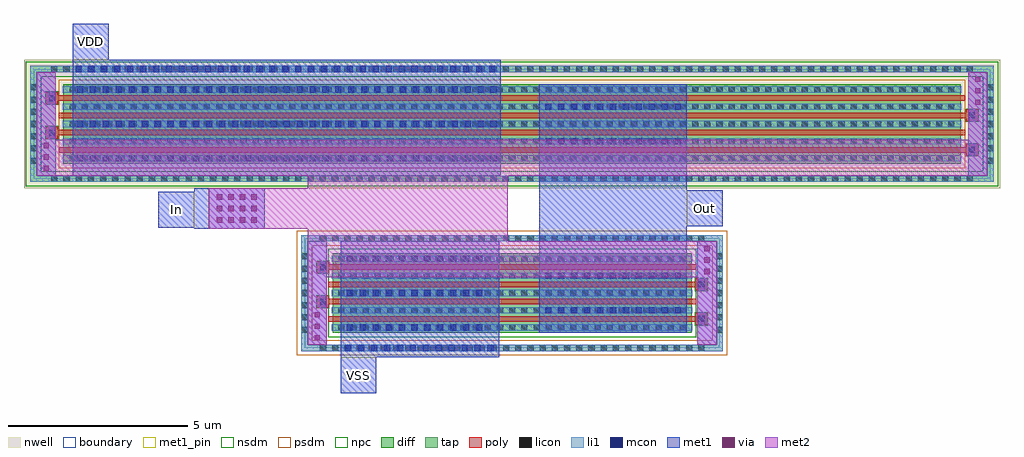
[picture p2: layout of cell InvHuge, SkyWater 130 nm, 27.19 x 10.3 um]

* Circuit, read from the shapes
.subckt InvHuge In Out VDD VSS
XM1 Out In VSS VSS sky130_fd_pr__nfet_01v8 w=10 l=0.15 m=4
XM2 Out In VDD VDD sky130_fd_pr__pfet_01v8 w=25 l=0.15 m=4
.ends

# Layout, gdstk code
from math import pi, radians
import gdstk
lib = gdstk.Library(unit=1e-6, precision=1e-09)
def R(c, l, rs):  # rectangles x0, y0, x1, y1
    for r in rs: c.add(gdstk.rectangle(r[:2], r[2:], *l))
def A(c, l, x, y, w, h, nx, ny, dx, dy):  # array of equal rectangles
    R(c, l, [(x+i*dx, y+j*dy, x+i*dx+w, y+j*dy+h) for i in range(nx) for j in range(ny)])
nwell = (64, 20)
diff = (65, 20)
tap = (65, 44)
poly = (66, 20)
licon = (66, 44)
li1 = (67, 20)
mcon = (67, 44)
met1_pin = (68, 16)
met1 = (68, 20)
via = (68, 44)
met2 = (69, 20)
nsdm = (93, 44)
psdm = (94, 20)
npc = (95, 20)
boundary = (235, 4)

sky130_fd_pr__nfet_01v8_ = lib.new_cell('sky130_fd_pr__nfet_01v8_4YTUZE')
R(sky130_fd_pr__nfet_01v8_, diff, [(-1.105,-5,1.105,5)])
R(sky130_fd_pr__nfet_01v8_, tap, [(-1.615,-5.87,1.615,-5.7), (-1.615,-5.7,-1.445,5.7), (1.445,-5.7,1.615,5.7), (-1.615,5.7,1.615,5.87)])
R(sky130_fd_pr__nfet_01v8_, poly, [(-0.885,-5.44,-0.555,-5.11), (0.075,-5.44,0.405,-5.11), (-0.315,-5.13,-0.165,5.11), (0.645,-5.13,0.795,5.11), (-0.795,-5.11,-0.645,5.13), (0.165,-5.11,0.315,5.13), (-0.405,5.11,-0.075,5.44), (0.555,5.11,0.885,5.44)])
A(sky130_fd_pr__nfet_01v8_, licon, -1.105, -5.87, 0.17, 0.17, 7, 2, 0.34, 11.57)
A(sky130_fd_pr__nfet_01v8_, licon, -1.615, -5.355, 0.17, 0.17, 1, 32, 0, 0.34)
A(sky130_fd_pr__nfet_01v8_, licon, 1.445, -5.355, 0.17, 0.17, 1, 32, 0, 0.34)
A(sky130_fd_pr__nfet_01v8_, licon, -1.045, -4.845, 0.17, 0.17, 5, 29, 0.48, 0.34)
R(sky130_fd_pr__nfet_01v8_, licon, [(-0.805,-5.36,-0.635,-5.19), (0.155,-5.36,0.325,-5.19), (-0.325,5.19,-0.155,5.36), (0.635,5.19,0.805,5.36)])
A(sky130_fd_pr__nfet_01v8_, li1, -1.045, -5.02, 0.17, 10.04, 5, 1, 0.48, 0)
R(sky130_fd_pr__nfet_01v8_, li1, [(-1.615,-5.87,1.615,-5.7), (-1.615,-5.7,-1.445,5.7), (1.445,-5.7,1.615,5.7), (-0.885,-5.36,-0.555,-5.19), (0.075,-5.36,0.405,-5.19), (-0.405,5.19,-0.075,5.36), (0.555,5.19,0.885,5.36), (-1.615,5.7,1.615,5.87)])
R(sky130_fd_pr__nfet_01v8_, mcon, [(-0.805,-5.36,-0.635,-5.19), (0.155,-5.36,0.325,-5.19), (-0.325,5.19,-0.155,5.36), (0.635,5.19,0.805,5.36)])
R(sky130_fd_pr__nfet_01v8_, met1, [(-0.865,-5.39,-0.575,-5.16), (0.095,-5.39,0.385,-5.16), (-0.385,5.16,-0.095,5.39), (0.575,5.16,0.865,5.39)])
R(sky130_fd_pr__nfet_01v8_, nsdm, [(-1.23,-5.125,1.23,5.125)])
R(sky130_fd_pr__nfet_01v8_, psdm, [(-1.74,-5.995,1.74,-5.575), (-1.74,-5.575,-1.32,5.575), (1.32,-5.575,1.74,5.575), (-1.74,5.575,1.74,5.995)])
R(sky130_fd_pr__nfet_01v8_, npc, [(-0.905,-5.46,-0.535,-5.09), (0.055,-5.46,0.425,-5.09), (-0.425,5.09,-0.055,5.46), (0.535,5.09,0.905,5.46)])
R(sky130_fd_pr__nfet_01v8_, boundary, [(-1.53,-5.785,1.53,5.785)])

sky130_fd_pr__pfet_01v8_ = lib.new_cell('sky130_fd_pr__pfet_01v8_48JMJG')
R(sky130_fd_pr__pfet_01v8_, nwell, [(-1.795,-13.595,1.795,13.595)])
R(sky130_fd_pr__pfet_01v8_, diff, [(-1.105,-12.5,1.105,12.5)])
R(sky130_fd_pr__pfet_01v8_, tap, [(-1.615,-13.415,1.615,-13.245), (-1.615,-13.245,-1.445,13.245), (1.445,-13.245,1.615,13.245), (-1.615,13.245,1.615,13.415)])
R(sky130_fd_pr__pfet_01v8_, poly, [(-0.885,-12.985,-0.555,-12.655), (0.075,-12.985,0.405,-12.655), (-0.795,-12.655,-0.645,12.63), (0.165,-12.655,0.315,12.63), (-0.315,-12.63,-0.165,12.655), (0.645,-12.63,0.795,12.655), (-0.405,12.655,-0.075,12.985), (0.555,12.655,0.885,12.985)])
A(sky130_fd_pr__pfet_01v8_, licon, -1.105, -13.415, 0.17, 0.17, 7, 2, 0.34, 26.66)
A(sky130_fd_pr__pfet_01v8_, licon, -1.615, -12.835, 0.17, 0.17, 1, 76, 0, 0.34)
A(sky130_fd_pr__pfet_01v8_, licon, 1.445, -12.835, 0.17, 0.17, 1, 76, 0, 0.34)
A(sky130_fd_pr__pfet_01v8_, licon, -1.045, -12.325, 0.17, 0.17, 5, 73, 0.48, 0.34)
R(sky130_fd_pr__pfet_01v8_, licon, [(-0.805,-12.905,-0.635,-12.735), (0.155,-12.905,0.325,-12.735), (-0.325,12.735,-0.155,12.905), (0.635,12.735,0.805,12.905)])
A(sky130_fd_pr__pfet_01v8_, li1, -1.045, -12.52, 0.17, 25.04, 5, 1, 0.48, 0)
R(sky130_fd_pr__pfet_01v8_, li1, [(-1.615,-13.415,1.615,-13.245), (-1.615,-13.245,-1.445,13.245), (1.445,-13.245,1.615,13.245), (-0.885,-12.905,-0.555,-12.735), (0.075,-12.905,0.405,-12.735), (-0.405,12.735,-0.075,12.905), (0.555,12.735,0.885,12.905), (-1.615,13.245,1.615,13.415)])
R(sky130_fd_pr__pfet_01v8_, mcon, [(-0.805,-12.905,-0.635,-12.735), (0.155,-12.905,0.325,-12.735), (-0.325,12.735,-0.155,12.905), (0.635,12.735,0.805,12.905)])
R(sky130_fd_pr__pfet_01v8_, met1, [(-0.865,-12.935,-0.575,-12.705), (0.095,-12.935,0.385,-12.705), (-0.385,12.705,-0.095,12.935), (0.575,12.705,0.865,12.935)])
R(sky130_fd_pr__pfet_01v8_, nsdm, [(-1.74,-13.54,1.74,-13.12), (-1.74,-13.12,-1.32,13.12), (1.32,-13.12,1.74,13.12), (-1.74,13.12,1.74,13.54)])
R(sky130_fd_pr__pfet_01v8_, psdm, [(-1.23,-12.625,1.23,12.625)])
R(sky130_fd_pr__pfet_01v8_, npc, [(-0.905,-13.005,-0.535,-12.635), (0.055,-13.005,0.425,-12.635), (-0.425,12.635,-0.055,13.005), (0.535,12.635,0.905,13.005)])
R(sky130_fd_pr__pfet_01v8_, boundary, [(-1.53,-13.33,1.53,13.33)])

invhuge = lib.new_cell('InvHuge')
A(invhuge, li1, -0.53, -1.43, 4.06, 0.17, 1, 3, 0, 0.96)
A(invhuge, li1, -7.99, 3.28, 11.86, 0.17, 1, 3, 0, 0.96)
R(invhuge, li1, [(-0.5,-2,3.77,-1.83), (5,-0.95,9.06,-0.78), (5,0.01,9.06,0.18), (5.01,3.76,9.06,3.93), (5,4.72,9.06,4.89), (-7.99,5.77,3.79,5.94)])
A(invhuge, mcon, -0.43, -2, 0.17, 0.17, 12, 1, 0.36, 0)
A(invhuge, mcon, -0.385, -1.43, 0.17, 0.17, 11, 3, 0.36, 0.96)
A(invhuge, mcon, 5.145, -0.95, 0.17, 0.17, 11, 2, 0.36, 0.96)
A(invhuge, mcon, -7.905, 3.28, 0.17, 0.17, 33, 3, 0.36, 0.96)
A(invhuge, mcon, 5.15, 3.76, 0.17, 0.17, 11, 1, 0.36, 0)
A(invhuge, mcon, 5.145, 4.72, 0.17, 0.17, 11, 1, 0.36, 0)
A(invhuge, mcon, -7.945, 5.77, 0.17, 0.17, 33, 1, 0.36, 0)
R(invhuge, met1_pin, [(-0.56,-3.18,0.44,-2.18), (-5.64,1.44,-4.64,2.44), (9.09,1.48,10.08,2.48), (-8.02,6.12,-7.02,7.12)])
R(invhuge, met1, [(-0.56,-3.18,0.44,-2.18), (-0.56,-2.18,3.86,1.06), (-1.48,-1.83,-0.94,1.06), (9.38,-1.83,9.92,1.06), (4.97,-1.49,9.09,1.48), (-4.64,1.41,-2.67,1.44), (-5.64,1.44,-2.67,2.44), (4.97,1.48,10.09,2.48), (-4.64,2.44,-2.67,2.53), (4.97,2.48,9.09,5.43), (-9.03,2.88,-8.49,5.77), (-8.02,2.88,3.9,6.12), (16.92,2.88,17.46,5.77), (-8.02,6.12,-7.02,7.12)])
A(invhuge, via, -1.285, -1.705, 0.15, 0.15, 1, 3, 0, 0.32)
A(invhuge, via, 9.575, 0.145, 0.15, 0.15, 1, 3, 0, 0.32)
A(invhuge, via, -4.01, 1.575, 0.15, 0.15, 4, 3, 0.32, 0.32)
A(invhuge, via, -8.835, 3.005, 0.15, 0.15, 1, 3, 0, 0.32)
A(invhuge, via, 17.115, 4.855, 0.15, 0.15, 1, 3, 0, 0.32)
R(invhuge, met2, [(-1.48,-1.83,-0.94,0.06), (9.38,-1.83,9.92,0.06), (-1.48,0.06,9.92,1.06), (-1.48,1.06,4.09,1.41), (-4.24,1.41,4.09,2.53), (-1.48,2.53,4.09,2.88), (-9.03,2.88,17.46,3.88), (-9.03,3.88,-8.49,5.77), (16.92,3.88,17.46,5.77)])
invhuge.add(gdstk.Reference(sky130_fd_pr__nfet_01v8_, (4.22,-0.385), rotation=3*pi/2))
invhuge.add(gdstk.Reference(sky130_fd_pr__pfet_01v8_, (4.215,4.325), rotation=3*pi/2))
invhuge.add(gdstk.Label('Out', (9.585,1.98), layer=68, texttype=5))
invhuge.add(gdstk.Label('In', (-5.14,1.94), layer=68, texttype=5))
invhuge.add(gdstk.Label('VSS', (-0.06,-2.68), layer=68, texttype=5))
invhuge.add(gdstk.Label('VDD', (-7.52,6.62), layer=68, texttype=5))

lib.write_gds('InvHuge.gds')
